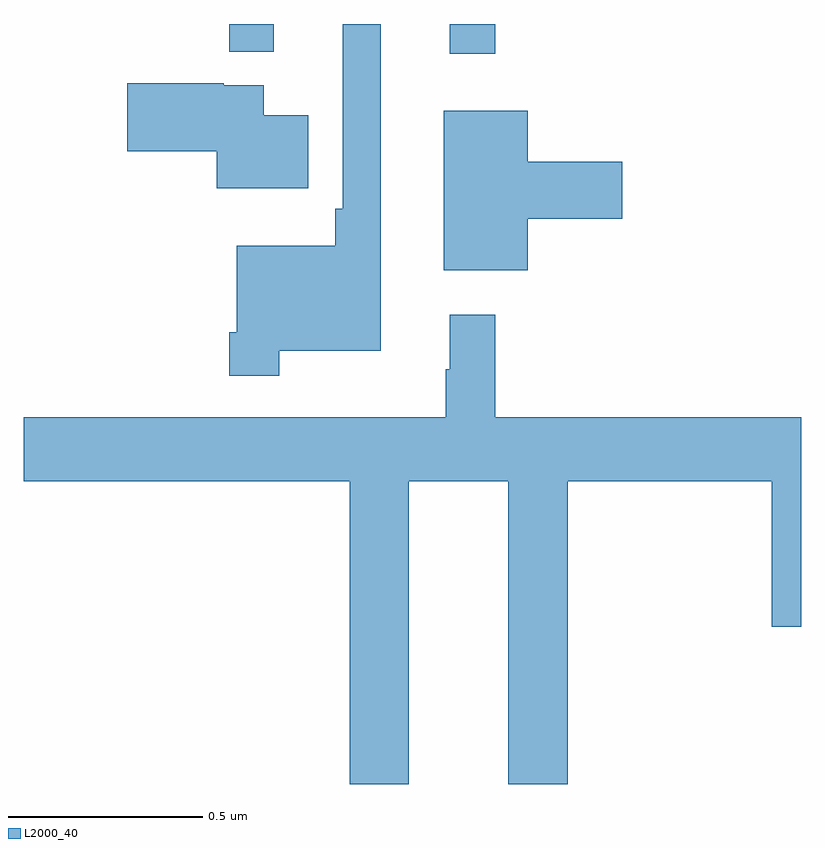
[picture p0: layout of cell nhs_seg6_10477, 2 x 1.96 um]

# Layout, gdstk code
import gdstk
lib = gdstk.Library(unit=1e-6, precision=1e-09)
def R(c, l, rs):  # rectangles x0, y0, x1, y1
    for r in rs: c.add(gdstk.rectangle(r[:2], r[2:], *l))
def P(c, l, *ps):  # polygons
    for p in ps: c.add(gdstk.Polygon(p, *l))
L2000_40 = (2000, 40)

nhs_seg6_10477 = lib.new_cell('nhs_seg6_10477')
R(nhs_seg6_10477, L2000_40, [(248.096,960.423,248.213,960.5), (247.529,960.428,247.643,960.5)])
P(nhs_seg6_10477, L2000_40, [(247.657,959.66),(247.918,959.66),(247.918,960.5),(247.821,960.5),(247.821,960.025),(247.801,960.025),(247.801,959.929),(247.548,959.929),(247.548,959.707),(247.528,959.707),(247.528,959.595),(247.657,959.595)],
  [(247.732,960.265),(247.618,960.265),(247.618,960.343),(247.514,960.343),(247.514,960.348),(247.266,960.348),(247.266,960.173),(247.496,960.173),(247.496,960.077),(247.732,960.077)],
  [(248.296,959.999),(248.539,959.999),(248.539,960.146),(248.296,960.146),(248.296,960.277),(248.081,960.277),(248.081,959.867),(248.296,959.867)],
  [(247.99,959.324),(248.246,959.324),(248.246,958.545),(248.399,958.545),(248.399,959.324),(248.924,959.324),(248.924,958.95),(249,958.95),(249,959.488),(248.213,959.488),(248.213,959.752),(248.096,959.752),(248.096,959.612),(248.085,959.612),(248.085,959.488),(247,959.488),(247,959.324),(247.838,959.324),(247.838,958.545),(247.99,958.545)])

lib.write_gds('nhs_seg6_10477.gds')
